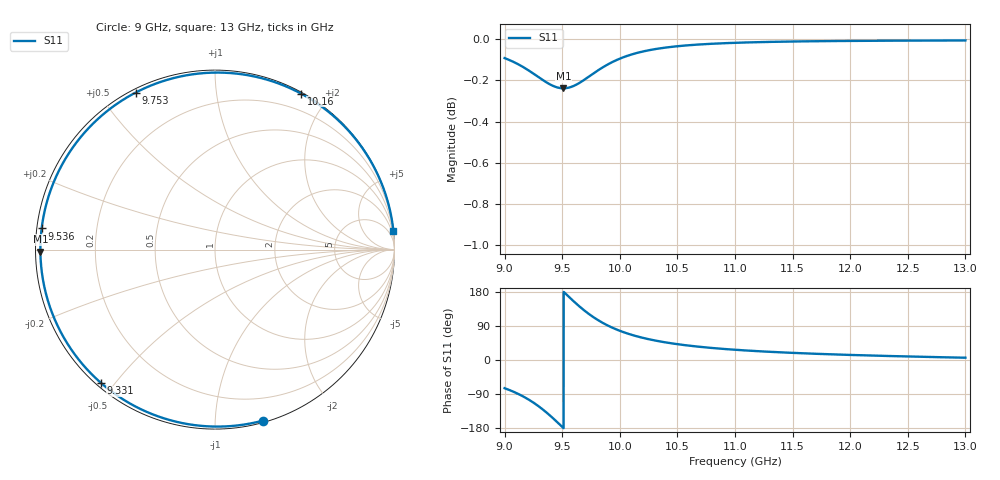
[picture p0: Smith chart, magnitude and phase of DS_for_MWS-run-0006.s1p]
! TOUCHSTONE file generated by CST DESIGN STUDIO
! Date and time: Tue Feb  4 12:25:21 2025
! Project name: C:\Work\MatlabApps\UnitCellOptimizationMatlab\CST\unitcell.cst
! Tree item: Tasks\Sweep1\SPara1\S-Parameters
! Header version: 2024
! Port assignment regex: !\s*Touchstone port\s*([0-9]+)\s*=\s*(CST MWS port|CST DES external port|CST DES block port)\s*(.+)\s* \(\"(.*)\"\)(\s*mode\s*([0-9]+))?.*
! Touchstone port assignment:
! Touchstone port 1 = CST DES external port 1 ("")
# GHz S MA R 50
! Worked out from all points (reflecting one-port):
!   4001 points, 9 GHz to 13 GHz, reference 50 ohm
!   lowest |S11| = -0.2 dB at 9.51 GHz (marker M1), VSWR 72.95, Z = 0.685 - j0.274 ohm
!   phase of S11 starts at -74 deg and turns -280 deg over the sweep
!   S11 on the Smith chart (normalised r, x): 9 GHz: 0.01, -1.32; 9.331 GHz: 0.01, -0.46; 9.536 GHz: 0.01, +0.06; 9.753 GHz: 0.01, +0.62; 10.16 GHz: 0.01, +1.69; 13 GHz: 0, +19
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9  0.9895 -74.4
9.089  0.9871 -85.3
9.192  0.9834 -101.4
9.265  0.9803 -115.5
9.331  0.9775 -130.4
9.377  0.9757 -142.0
9.424  0.9742 -154.7
9.463  0.9733 -165.7
9.5  0.973 -176.5
9.51  0.973 -179.4
9.536  0.9731 173.0
9.59  0.974 157.6
9.65  0.9759 141.3
9.701  0.978 128.5
9.753  0.9803 116.8
9.804  0.9825 106.5
9.86  0.9847 96.6
10  0.9892 77.1
10.079  0.9911 68.7
10.165  0.9927 61.1
10.317  0.9946 50.8
10.5  0.9961 41.8
10.722  0.9972 33.9
11  0.998 27.0
11.5  0.9988 18.8
12  0.9991 13.4
12.5  0.9993 9.3
13  0.9994 6.0
